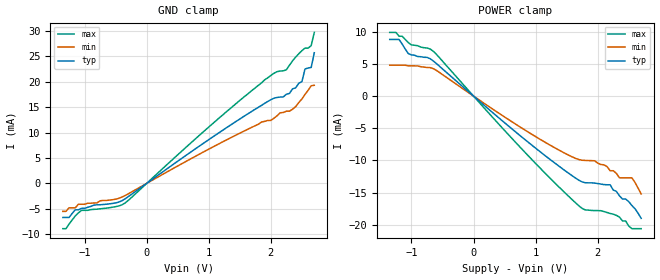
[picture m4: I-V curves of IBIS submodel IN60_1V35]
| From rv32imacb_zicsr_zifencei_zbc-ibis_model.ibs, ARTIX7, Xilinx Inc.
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[Submodel]  IN60_1V35
Submodel_type   Dynamic_clamp
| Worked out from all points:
|   GND clamp passes 1 mA (typ) near -0.11 V on its own axis
|   POWER clamp passes 1 mA (typ) near -0.12 V on its own axis
[GND_clamp]
|Voltage   I(typ)   I(min)   I(max)
-1.35V    -6.7mA     -5.5mA     -8.9mA
-1.25V    -6.7mA     -4.8mA     -8mA
-1.15V    -5.2mA     -4.8mA     -6.4mA
-1.05V    -4.9mA     -4.1mA     -5.3mA
-350mV    -3.054mA   -2.406mA   -3.869mA
1.4V      11.87mA    9.266mA    15.29mA
2V        16.46mA    12.39mA    21.23mA
2.3V      17.7mA     14.2mA     23.25mA
2.5V      20mA       16.6mA     26.1mA
2.55V     22.5mA     17.5mA     26.6mA
2.65V     22.8mA     19.2mA     27.1mA
2.7V      25.7mA     19.3mA     29.7mA
[POWER_clamp]
|Voltage   I(typ)   I(min)   I(max)
-1.35V    8.8mA      4.8mA      9.9mA
-1.25V    8.8mA      4.8mA      9.9mA
-1.2V     8.8mA      4.8mA      9.3mA
-1.05V    6.6mA      4.7mA      8.3mA
-650mV    5.476mA    4.277mA    6.987mA
900mV     -7.32mA    -5.707mA   -9.464mA
1.75V     -13.34mA   -9.968mA   -17.46mA
1.95V     -13.52mA   -10.05mA   -17.79mA
2.2V      -13.78mA   -11.6mA    -18.24mA
2.35V     -15.5mA    -12.7mA    -18.8mA
2.55V     -17mA      -12.7mA    -20.6mA
2.7V      -19mA      -15.2mA    -20.6mA
